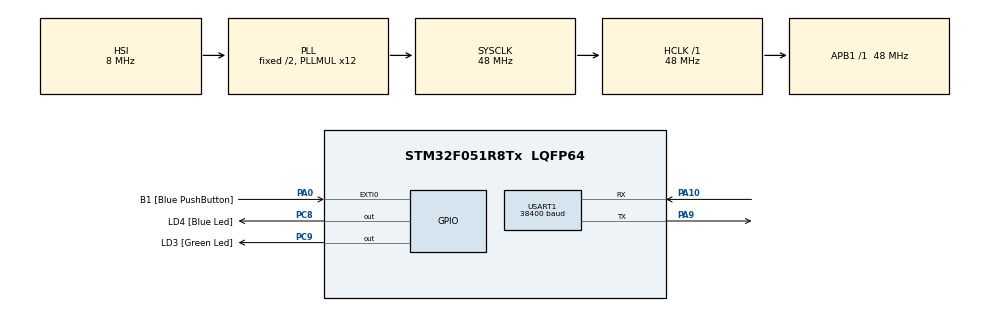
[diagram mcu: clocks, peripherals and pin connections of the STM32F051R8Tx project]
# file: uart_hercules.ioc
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Mcu.Family=STM32F0
Mcu.Name=STM32F051R8Tx
Mcu.Package=LQFP64
NVIC.USART1_IRQn=true\:0\:0\:false\:false\:true\:true\:true\:true
PA0.GPIO_Label=B1 [Blue PushButton]
PA0.GPIO_ModeDefaultEXTI=GPIO_MODE_EVT_RISING
PA0.Signal=GPXTI0
PA10.Mode=Asynchronous
PA10.Signal=USART1_RX
PA13.GPIO_Label=SWDIO
PA13.Mode=Serial_Wire
PA13.Signal=SYS_SWDIO
PA14.GPIO_Label=SWCLK
PA14.Mode=Serial_Wire
PA14.Signal=SYS_SWCLK
PA9.Mode=Asynchronous
PA9.Signal=USART1_TX
PC8.GPIO_Label=LD4 [Blue Led]
PC8.Signal=GPIO_Output
PC9.GPIO_Label=LD3 [Green Led]
PC9.Signal=GPIO_Output
PF0-OSC_IN.Mode=HSE-External-Oscillator
PF0-OSC_IN.Signal=RCC_OSC_IN
PF1-OSC_OUT.Mode=HSE-External-Oscillator
PF1-OSC_OUT.Signal=RCC_OSC_OUT
ProjectManager.HeapSize=0x200
ProjectManager.StackSize=0x400
ProjectManager.TargetToolchain=STM32CubeIDE
RCC.AHBFreq_Value=48000000
RCC.APB1Freq_Value=48000000
RCC.APB1TimFreq_Value=48000000
RCC.HCLKFreq_Value=48000000
RCC.PLLMUL=RCC_PLL_MUL12
RCC.SYSCLKFreq_VALUE=48000000
RCC.SYSCLKSource=RCC_SYSCLKSOURCE_PLLCLK
USART1.BaudRate=38400
USART1.Parity=PARITY_NONE
USART1.VirtualMode-Asynchronous=VM_ASYNC
board=STM32F0DISCOVERY

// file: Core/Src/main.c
/* USER CODE BEGIN Header */
/**
  ******************************************************************************
  * @file           : main.c
  * @brief          : Main program body
  ******************************************************************************
  * @attention
  *
  * Copyright (c) 2022 STMicroelectronics.
  * All rights reserved.
  *
  * This software is licensed under terms that can be found in the LICENSE file
  * in the root directory of this software component.
  * If no LICENSE file comes with this software, it is provided AS-IS.
  *
  ******************************************************************************
  */
/* USER CODE END Header */
#include "main.h"

UART_HandleTypeDef huart1;

void SystemClock_Config(void);
static void MX_GPIO_Init(void);
static void MX_USART1_UART_Init(void);

/* USER CODE BEGIN 0 */
char Rx_data[4];
char val[] = "pass";
char val2[] = "pass";
uint8_t acc[] = "accept \r\n";
uint8_t rej[] = "rejection\r\n";
int value;

uint8_t flag=0;
void HAL_UART_RxCpltCallback(UART_HandleTypeDef *huart)
{
    HAL_UART_Receive_IT(&huart1, Rx_data, sizeof(Rx_data));//herculus konsolundan giridi alınması
    flag=1;
}

void comp()
{
	value = strcmp(Rx_data,val); //iki stringin kıyaslanması
	if(value >= 0)
	{
		HAL_UART_Transmit(&huart1, acc, sizeof(acc), 100); //herculus consoluna yazdırılması
	}
	else
	{
		HAL_UART_Transmit(&huart1, rej, sizeof(rej), 100);
	}
}
/* USER CODE END 0 */

int main(void)
{

  /* MCU Configuration--------------------------------------------------------*/

  /* Reset of all peripherals, Initializes the Flash interface and the Systick. */
  HAL_Init();

  /* Configure the system clock */
  SystemClock_Config();

  /* Initialize all configured peripherals */
  MX_GPIO_Init();
  MX_USART1_UART_Init();
  /* USER CODE BEGIN 2 */
  HAL_UART_Receive_IT(&huart1, Rx_data, sizeof(Rx_data));
  //comp();
  /* USER CODE END 2 */

  /* Infinite loop */
  /* USER CODE BEGIN WHILE */
  while (1)
  {

	  if(flag==1)
	 {
		  flag=0; //eger butona basıldıysa fonk calısıcaktır.
		  comp();
	 }
	 HAL_Delay(1000);

    /* USER CODE END WHILE */

    /* USER CODE BEGIN 3 */

	  //HAL_Delay(1000);
	  HAL_GPIO_TogglePin (GPIOC, GPIO_PIN_8);
	  HAL_Delay (250);

  }
  /* USER CODE END 3 */
}

void SystemClock_Config(void)
{
  RCC_OscInitTypeDef RCC_OscInitStruct = {0};
  RCC_ClkInitTypeDef RCC_ClkInitStruct = {0};
  RCC_PeriphCLKInitTypeDef PeriphClkInit = {0};

  /** Initializes the RCC Oscillators according to the specified parameters
  * in the RCC_OscInitTypeDef structure.
  */
  RCC_OscInitStruct.OscillatorType = RCC_OSCILLATORTYPE_HSI;
  RCC_OscInitStruct.HSIState = RCC_HSI_ON;
  RCC_OscInitStruct.HSICalibrationValue = RCC_HSICALIBRATION_DEFAULT;
  RCC_OscInitStruct.PLL.PLLState = RCC_PLL_ON;
  RCC_OscInitStruct.PLL.PLLSource = RCC_PLLSOURCE_HSI;
  RCC_OscInitStruct.PLL.PLLMUL = RCC_PLL_MUL12;
  RCC_OscInitStruct.PLL.PREDIV = RCC_PREDIV_DIV1;
  if (HAL_RCC_OscConfig(&RCC_OscInitStruct) != HAL_OK)
  {
    Error_Handler();
  }

  /** Initializes the CPU, AHB and APB buses clocks
  */
  RCC_ClkInitStruct.ClockType = RCC_CLOCKTYPE_HCLK|RCC_CLOCKTYPE_SYSCLK
                              |RCC_CLOCKTYPE_PCLK1;
  RCC_ClkInitStruct.SYSCLKSource = RCC_SYSCLKSOURCE_PLLCLK;
  RCC_ClkInitStruct.AHBCLKDivider = RCC_SYSCLK_DIV1;
  RCC_ClkInitStruct.APB1CLKDivider = RCC_HCLK_DIV1;

  if (HAL_RCC_ClockConfig(&RCC_ClkInitStruct, FLASH_LATENCY_1) != HAL_OK)
  {
    Error_Handler();
  }
  PeriphClkInit.PeriphClockSelection = RCC_PERIPHCLK_USART1;
  PeriphClkInit.Usart1ClockSelection = RCC_USART1CLKSOURCE_PCLK1;
  if (HAL_RCCEx_PeriphCLKConfig(&PeriphClkInit) != HAL_OK)
  {
    Error_Handler();
  }
}

static void MX_USART1_UART_Init(void)
{

  huart1.Instance = USART1;
  huart1.Init.BaudRate = 38400;
  huart1.Init.WordLength = UART_WORDLENGTH_8B;
  huart1.Init.StopBits = UART_STOPBITS_1;
  huart1.Init.Parity = UART_PARITY_NONE;
  huart1.Init.Mode = UART_MODE_TX_RX;
  huart1.Init.HwFlowCtl = UART_HWCONTROL_NONE;
  huart1.Init.OverSampling = UART_OVERSAMPLING_16;
  huart1.Init.OneBitSampling = UART_ONE_BIT_SAMPLE_DISABLE;
  huart1.AdvancedInit.AdvFeatureInit = UART_ADVFEATURE_NO_INIT;
  if (HAL_UART_Init(&huart1) != HAL_OK)
  {
    Error_Handler();
  }

}

static void MX_GPIO_Init(void)
{
  GPIO_InitTypeDef GPIO_InitStruct = {0};

  /* GPIO Ports Clock Enable */
  __HAL_RCC_GPIOF_CLK_ENABLE();
  __HAL_RCC_GPIOA_CLK_ENABLE();
  __HAL_RCC_GPIOC_CLK_ENABLE();

  /*Configure GPIO pin Output Level */
  HAL_GPIO_WritePin(GPIOC, LD4_Pin|LD3_Pin, GPIO_PIN_RESET);

  /*Configure GPIO pin : B1_Pin */
  GPIO_InitStruct.Pin = B1_Pin;
  GPIO_InitStruct.Mode = GPIO_MODE_EVT_RISING;
  GPIO_InitStruct.Pull = GPIO_NOPULL;
  HAL_GPIO_Init(B1_GPIO_Port, &GPIO_InitStruct);

  /*Configure GPIO pins : LD4_Pin LD3_Pin */
  GPIO_InitStruct.Pin = LD4_Pin|LD3_Pin;
  GPIO_InitStruct.Mode = GPIO_MODE_OUTPUT_PP;
  GPIO_InitStruct.Pull = GPIO_NOPULL;
  GPIO_InitStruct.Speed = GPIO_SPEED_FREQ_LOW;
  HAL_GPIO_Init(GPIOC, &GPIO_InitStruct);

}

void Error_Handler(void)
{
  __disable_irq();
  while (1)
  {
  }
}
